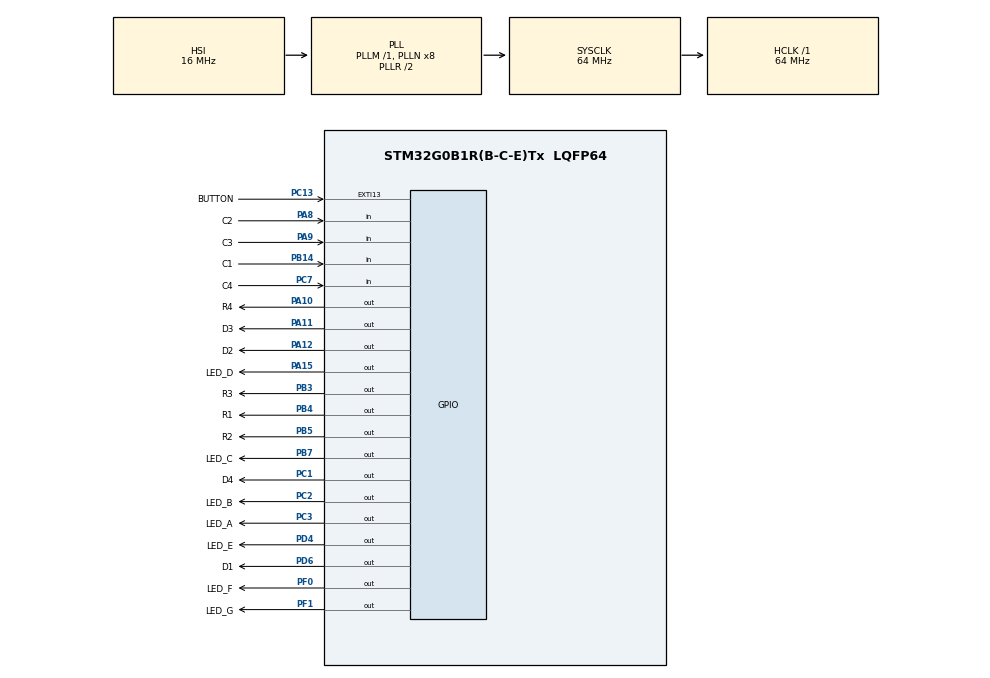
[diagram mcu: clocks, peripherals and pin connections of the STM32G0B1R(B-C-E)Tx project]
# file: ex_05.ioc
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Mcu.Family=STM32G0
Mcu.Name=STM32G0B1R(B-C-E)Tx
Mcu.Package=LQFP64
NVIC.EXTI4_15_IRQn=true\:0\:0\:false\:false\:true\:true\:true
PA10.GPIO_Label=R4
PA10.Signal=GPIO_Output
PA11\ [PA9].GPIO_Label=D3
PA11\ [PA9].Signal=GPIO_Output
PA12\ [PA10].GPIO_Label=D2
PA12\ [PA10].Signal=GPIO_Output
PA13.Mode=Serial_Wire
PA13.Signal=SYS_SWDIO
PA14-BOOT0.Mode=Serial_Wire
PA14-BOOT0.Signal=SYS_SWCLK
PA15.GPIO_Label=LED_D
PA15.Signal=GPIO_Output
PA8.GPIO_Label=C2
PA8.GPIO_PuPd=GPIO_PULLDOWN
PA8.Signal=GPIO_Input
PA9.GPIO_Label=C3
PA9.GPIO_PuPd=GPIO_PULLDOWN
PA9.Signal=GPIO_Input
PB14.GPIO_Label=C1
PB14.GPIO_PuPd=GPIO_PULLDOWN
PB14.Signal=GPIO_Input
PB3.GPIO_Label=R3
PB3.Signal=GPIO_Output
PB4.GPIO_Label=R1
PB4.Signal=GPIO_Output
PB5.GPIO_Label=R2
PB5.Signal=GPIO_Output
PB7.GPIO_Label=LED_C
PB7.Signal=GPIO_Output
PC1.GPIO_Label=D4
PC1.Signal=GPIO_Output
PC13.GPIO_Label=BUTTON
PC13.GPIO_ModeDefaultEXTI=GPIO_MODE_IT_RISING_FALLING
PC13.Signal=GPXTI13
PC2.GPIO_Label=LED_B
PC2.Signal=GPIO_Output
PC3.GPIO_Label=LED_A
PC3.Signal=GPIO_Output
PC7.GPIO_Label=C4
PC7.GPIO_PuPd=GPIO_PULLDOWN
PC7.Signal=GPIO_Input
PD4.GPIO_Label=LED_E
PD4.Signal=GPIO_Output
PD6.GPIO_Label=D1
PD6.Signal=GPIO_Output
PF0-OSC_IN\ (PF0).GPIO_Label=LED_F
PF0-OSC_IN\ (PF0).Signal=GPIO_Output
PF1-OSC_OUT\ (PF1).GPIO_Label=LED_G
PF1-OSC_OUT\ (PF1).Signal=GPIO_Output
ProjectManager.HeapSize=0x200
ProjectManager.StackSize=0x400
ProjectManager.TargetToolchain=STM32CubeIDE
RCC.ADCFreq_Value=64000000
RCC.AHBFreq_Value=64000000
RCC.CortexFreq_Value=64000000
RCC.EXTERNAL_CLOCK_VALUE=48000
RCC.HCLKFreq_Value=64000000
RCC.HSE_VALUE=8000000
RCC.HSI48_VALUE=48000000
RCC.HSI_VALUE=16000000
RCC.LSE_VALUE=32768
RCC.SYSCLKFreq_VALUE=64000000
RCC.SYSCLKSource=RCC_SYSCLKSOURCE_PLLCLK
RCC.USBFreq_Value=48000000
RCC.VCOOutputFreq_Value=128000000
VP_SYS_VS_DBSignals.Mode=DisableDeadBatterySignals
board=custom

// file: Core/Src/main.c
/* USER CODE BEGIN Header */
/**
  ******************************************************************************
  * @file           : main.c
  * @brief          : Main program body
  ******************************************************************************
  * @attention
  *
  * Copyright (c) 2022 STMicroelectronics.
  * All rights reserved.
  *
  * This software is licensed under terms that can be found in the LICENSE file
  * in the root directory of this software component.
  * If no LICENSE file comes with this software, it is provided AS-IS.
  *
  ******************************************************************************
  */
/* USER CODE END Header */
#include "main.h"

/* USER CODE BEGIN Includes */
#include <stdint.h>
/* USER CODE END Includes */

/* USER CODE BEGIN PV */
uint8_t unit=0,dec=0,cent=0,mil=0,press=0,count=0;
/* USER CODE END PV */

void SystemClock_Config(void);
static void MX_GPIO_Init(void);

/* USER CODE BEGIN 0 */
enum botaoPress_e {ALTO = 1, BAIXO = 0};

void displayNum(uint16_t numero, uint8_t display){
	switch(display){
	case 1:
		HAL_GPIO_WritePin(D1_GPIO_Port, D1_Pin, GPIO_PIN_SET);
		HAL_GPIO_WritePin(D2_GPIO_Port, D2_Pin, GPIO_PIN_RESET);
		HAL_GPIO_WritePin(D3_GPIO_Port, D3_Pin, GPIO_PIN_RESET);
		HAL_GPIO_WritePin(D4_GPIO_Port, D4_Pin, GPIO_PIN_RESET);
		break;
	case 2:
		HAL_GPIO_WritePin(D1_GPIO_Port, D1_Pin, GPIO_PIN_RESET);
		HAL_GPIO_WritePin(D2_GPIO_Port, D2_Pin, GPIO_PIN_SET);
		HAL_GPIO_WritePin(D3_GPIO_Port, D3_Pin, GPIO_PIN_RESET);
		HAL_GPIO_WritePin(D4_GPIO_Port, D4_Pin, GPIO_PIN_RESET);
		break;
	case 3:
		HAL_GPIO_WritePin(D1_GPIO_Port, D1_Pin, GPIO_PIN_RESET);
		HAL_GPIO_WritePin(D2_GPIO_Port, D2_Pin, GPIO_PIN_RESET);
		HAL_GPIO_WritePin(D3_GPIO_Port, D3_Pin, GPIO_PIN_SET);
		HAL_GPIO_WritePin(D4_GPIO_Port, D4_Pin, GPIO_PIN_RESET);
		break;
	case 4:
		HAL_GPIO_WritePin(D1_GPIO_Port, D1_Pin, GPIO_PIN_RESET);
		HAL_GPIO_WritePin(D2_GPIO_Port, D2_Pin, GPIO_PIN_RESET);
		HAL_GPIO_WritePin(D3_GPIO_Port, D3_Pin, GPIO_PIN_RESET);
		HAL_GPIO_WritePin(D4_GPIO_Port, D4_Pin, GPIO_PIN_SET);
		break;
	default:
		HAL_GPIO_WritePin(D1_GPIO_Port, D1_Pin, GPIO_PIN_RESET);
		HAL_GPIO_WritePin(D2_GPIO_Port, D2_Pin, GPIO_PIN_RESET);
		HAL_GPIO_WritePin(D3_GPIO_Port, D3_Pin, GPIO_PIN_RESET);
		HAL_GPIO_WritePin(D4_GPIO_Port, D4_Pin, GPIO_PIN_RESET);
		break;
	}

	HAL_GPIO_WritePin(LED_A_GPIO_Port, LED_A_Pin, GPIO_PIN_RESET);
	HAL_GPIO_WritePin(LED_B_GPIO_Port, LED_B_Pin, GPIO_PIN_RESET);
	HAL_GPIO_WritePin(LED_C_GPIO_Port, LED_C_Pin, GPIO_PIN_RESET);
	HAL_GPIO_WritePin(LED_D_GPIO_Port, LED_D_Pin, GPIO_PIN_RESET);
	HAL_GPIO_WritePin(LED_E_GPIO_Port, LED_E_Pin, GPIO_PIN_RESET);
	HAL_GPIO_WritePin(LED_F_GPIO_Port, LED_F_Pin, GPIO_PIN_RESET);
	HAL_GPIO_WritePin(LED_G_GPIO_Port, LED_G_Pin, GPIO_PIN_RESET);

	switch(numero){
	case 0:
		HAL_GPIO_WritePin(LED_A_GPIO_Port, LED_A_Pin, GPIO_PIN_SET);
		HAL_GPIO_WritePin(LED_B_GPIO_Port, LED_B_Pin, GPIO_PIN_SET);
		HAL_GPIO_WritePin(LED_C_GPIO_Port, LED_C_Pin, GPIO_PIN_SET);
		HAL_GPIO_WritePin(LED_D_GPIO_Port, LED_D_Pin, GPIO_PIN_SET);
		HAL_GPIO_WritePin(LED_E_GPIO_Port, LED_E_Pin, GPIO_PIN_SET);
		HAL_GPIO_WritePin(LED_F_GPIO_Port, LED_F_Pin, GPIO_PIN_SET);
		break;
	case 1:
		HAL_GPIO_WritePin(LED_B_GPIO_Port, LED_B_Pin, GPIO_PIN_SET);
		HAL_GPIO_WritePin(LED_C_GPIO_Port, LED_C_Pin, GPIO_PIN_SET);
		break;
	case 2:
		HAL_GPIO_WritePin(LED_A_GPIO_Port, LED_A_Pin, GPIO_PIN_SET);
		HAL_GPIO_WritePin(LED_B_GPIO_Port, LED_B_Pin, GPIO_PIN_SET);
		HAL_GPIO_WritePin(LED_D_GPIO_Port, LED_D_Pin, GPIO_PIN_SET);
		HAL_GPIO_WritePin(LED_E_GPIO_Port, LED_E_Pin, GPIO_PIN_SET);
		HAL_GPIO_WritePin(LED_G_GPIO_Port, LED_G_Pin, GPIO_PIN_SET);
		break;
	case 3:
		HAL_GPIO_WritePin(LED_A_GPIO_Port, LED_A_Pin, GPIO_PIN_SET);
		HAL_GPIO_WritePin(LED_B_GPIO_Port, LED_B_Pin, GPIO_PIN_SET);
		HAL_GPIO_WritePin(LED_C_GPIO_Port, LED_C_Pin, GPIO_PIN_SET);
		HAL_GPIO_WritePin(LED_D_GPIO_Port, LED_D_Pin, GPIO_PIN_SET);
		HAL_GPIO_WritePin(LED_G_GPIO_Port, LED_G_Pin, GPIO_PIN_SET);
		break;
	case 4:
		HAL_GPIO_WritePin(LED_B_GPIO_Port, LED_B_Pin, GPIO_PIN_SET);
		HAL_GPIO_WritePin(LED_C_GPIO_Port, LED_C_Pin, GPIO_PIN_SET);
		HAL_GPIO_WritePin(LED_F_GPIO_Port, LED_F_Pin, GPIO_PIN_SET);
		HAL_GPIO_WritePin(LED_G_GPIO_Port, LED_G_Pin, GPIO_PIN_SET);
		break;
	case 5:
		HAL_GPIO_WritePin(LED_A_GPIO_Port, LED_A_Pin, GPIO_PIN_SET);
		HAL_GPIO_WritePin(LED_C_GPIO_Port, LED_C_Pin, GPIO_PIN_SET);
		HAL_GPIO_WritePin(LED_D_GPIO_Port, LED_D_Pin, GPIO_PIN_SET);
		HAL_GPIO_WritePin(LED_F_GPIO_Port, LED_F_Pin, GPIO_PIN_SET);
		HAL_GPIO_WritePin(LED_G_GPIO_Port, LED_G_Pin, GPIO_PIN_SET);
		break;
	case 6:
		HAL_GPIO_WritePin(LED_A_GPIO_Port, LED_A_Pin, GPIO_PIN_SET);
		HAL_GPIO_WritePin(LED_C_GPIO_Port, LED_C_Pin, GPIO_PIN_SET);
		HAL_GPIO_WritePin(LED_D_GPIO_Port, LED_D_Pin, GPIO_PIN_SET);
		HAL_GPIO_WritePin(LED_E_GPIO_Port, LED_E_Pin, GPIO_PIN_SET);
		HAL_GPIO_WritePin(LED_F_GPIO_Port, LED_F_Pin, GPIO_PIN_SET);
		HAL_GPIO_WritePin(LED_G_GPIO_Port, LED_G_Pin, GPIO_PIN_SET);
		break;
	case 7:
		HAL_GPIO_WritePin(LED_A_GPIO_Port, LED_A_Pin, GPIO_PIN_SET);
		HAL_GPIO_WritePin(LED_B_GPIO_Port, LED_B_Pin, GPIO_PIN_SET);
		HAL_GPIO_WritePin(LED_C_GPIO_Port, LED_C_Pin, GPIO_PIN_SET);
		break;
	case 8:
		HAL_GPIO_WritePin(LED_A_GPIO_Port, LED_A_Pin, GPIO_PIN_SET);
		HAL_GPIO_WritePin(LED_B_GPIO_Port, LED_B_Pin, GPIO_PIN_SET);
		HAL_GPIO_WritePin(LED_C_GPIO_Port, LED_C_Pin, GPIO_PIN_SET);
		HAL_GPIO_WritePin(LED_D_GPIO_Port, LED_D_Pin, GPIO_PIN_SET);
		HAL_GPIO_WritePin(LED_E_GPIO_Port, LED_E_Pin, GPIO_PIN_SET);
		HAL_GPIO_WritePin(LED_F_GPIO_Port, LED_F_Pin, GPIO_PIN_SET);
		HAL_GPIO_WritePin(LED_G_GPIO_Port, LED_G_Pin, GPIO_PIN_SET);
		break;

	case 9:
		HAL_GPIO_WritePin(LED_A_GPIO_Port, LED_A_Pin, GPIO_PIN_SET);
		HAL_GPIO_WritePin(LED_B_GPIO_Port, LED_B_Pin, GPIO_PIN_SET);
		HAL_GPIO_WritePin(LED_C_GPIO_Port, LED_C_Pin, GPIO_PIN_SET);
		HAL_GPIO_WritePin(LED_G_GPIO_Port, LED_G_Pin, GPIO_PIN_SET);
		HAL_GPIO_WritePin(LED_F_GPIO_Port, LED_F_Pin, GPIO_PIN_SET);
		break;
	case 10:
		HAL_GPIO_WritePin(LED_A_GPIO_Port, LED_A_Pin, GPIO_PIN_SET);
		HAL_GPIO_WritePin(LED_B_GPIO_Port, LED_B_Pin, GPIO_PIN_SET);
		HAL_GPIO_WritePin(LED_C_GPIO_Port, LED_C_Pin, GPIO_PIN_SET);
		HAL_GPIO_WritePin(LED_E_GPIO_Port, LED_E_Pin, GPIO_PIN_SET);
		HAL_GPIO_WritePin(LED_F_GPIO_Port, LED_F_Pin, GPIO_PIN_SET);
		HAL_GPIO_WritePin(LED_G_GPIO_Port, LED_G_Pin, GPIO_PIN_SET);
		break;
	case 11:
		HAL_GPIO_WritePin(LED_C_GPIO_Port, LED_C_Pin, GPIO_PIN_SET);
		HAL_GPIO_WritePin(LED_D_GPIO_Port, LED_D_Pin, GPIO_PIN_SET);
		HAL_GPIO_WritePin(LED_E_GPIO_Port, LED_E_Pin, GPIO_PIN_SET);
		HAL_GPIO_WritePin(LED_F_GPIO_Port, LED_F_Pin, GPIO_PIN_SET);
		HAL_GPIO_WritePin(LED_G_GPIO_Port, LED_G_Pin, GPIO_PIN_SET);
		break;
	case 12:
		HAL_GPIO_WritePin(LED_A_GPIO_Port, LED_A_Pin, GPIO_PIN_SET);
		HAL_GPIO_WritePin(LED_D_GPIO_Port, LED_D_Pin, GPIO_PIN_SET);
		HAL_GPIO_WritePin(LED_E_GPIO_Port, LED_E_Pin, GPIO_PIN_SET);
		HAL_GPIO_WritePin(LED_F_GPIO_Port, LED_F_Pin, GPIO_PIN_SET);
		break;
	case 13:
		HAL_GPIO_WritePin(LED_B_GPIO_Port, LED_B_Pin, GPIO_PIN_SET);
		HAL_GPIO_WritePin(LED_C_GPIO_Port, LED_C_Pin, GPIO_PIN_SET);
		HAL_GPIO_WritePin(LED_D_GPIO_Port, LED_D_Pin, GPIO_PIN_SET);
		HAL_GPIO_WritePin(LED_E_GPIO_Port, LED_E_Pin, GPIO_PIN_SET);
		HAL_GPIO_WritePin(LED_G_GPIO_Port, LED_G_Pin, GPIO_PIN_SET);
		break;
	case 14:
		HAL_GPIO_WritePin(LED_A_GPIO_Port, LED_A_Pin, GPIO_PIN_SET);
		HAL_GPIO_WritePin(LED_D_GPIO_Port, LED_D_Pin, GPIO_PIN_SET);
		HAL_GPIO_WritePin(LED_E_GPIO_Port, LED_E_Pin, GPIO_PIN_SET);
		HAL_GPIO_WritePin(LED_F_GPIO_Port, LED_F_Pin, GPIO_PIN_SET);
		HAL_GPIO_WritePin(LED_G_GPIO_Port, LED_G_Pin, GPIO_PIN_SET);
		break;
	case 15:
		HAL_GPIO_WritePin(LED_A_GPIO_Port, LED_A_Pin, GPIO_PIN_SET);
		HAL_GPIO_WritePin(LED_E_GPIO_Port, LED_E_Pin, GPIO_PIN_SET);
		HAL_GPIO_WritePin(LED_F_GPIO_Port, LED_F_Pin, GPIO_PIN_SET);
		HAL_GPIO_WritePin(LED_G_GPIO_Port, LED_G_Pin, GPIO_PIN_SET);
		break;
	default:

		break;
	}
	HAL_Delay(1);
}

void separarNum(uint16_t num){
	unit = num % 10;
	num = num / 10;

	dec = num % 10;
	num = num / 10;

	cent = num % 10;
	num = num / 10;

	mil = num % 10;
	num = num / 10;
}
void HAL_GPIO_EXTI_Falling_Callback(uint16_t GPIO_Pin){
	count++;
	separarNum(count);
	press = ALTO;
}
void HAL_GPIO_EXTI_Rising_Callback(uint16_t GPIO_Pin){
	press = BAIXO;
}
/* USER CODE END 0 */

int main(void)
{

  /* MCU Configuration--------------------------------------------------------*/

  /* Reset of all peripherals, Initializes the Flash interface and the Systick. */
  HAL_Init();

  /* Configure the system clock */
  SystemClock_Config();

  /* Initialize all configured peripherals */
  MX_GPIO_Init();

  /* Infinite loop */
  /* USER CODE BEGIN WHILE */
  while (1)
  {
	  displayNum(unit,4);
	  displayNum(dec,3);
	  displayNum(cent,2);
	  displayNum(mil,1);
    /* USER CODE END WHILE */

  }
}

void SystemClock_Config(void)
{
  RCC_OscInitTypeDef RCC_OscInitStruct = {0};
  RCC_ClkInitTypeDef RCC_ClkInitStruct = {0};

  /** Configure the main internal regulator output voltage
  */
  HAL_PWREx_ControlVoltageScaling(PWR_REGULATOR_VOLTAGE_SCALE1);
  /** Initializes the RCC Oscillators according to the specified parameters
  * in the RCC_OscInitTypeDef structure.
  */
  RCC_OscInitStruct.OscillatorType = RCC_OSCILLATORTYPE_HSI;
  RCC_OscInitStruct.HSIState = RCC_HSI_ON;
  RCC_OscInitStruct.HSIDiv = RCC_HSI_DIV1;
  RCC_OscInitStruct.HSICalibrationValue = RCC_HSICALIBRATION_DEFAULT;
  RCC_OscInitStruct.PLL.PLLState = RCC_PLL_ON;
  RCC_OscInitStruct.PLL.PLLSource = RCC_PLLSOURCE_HSI;
  RCC_OscInitStruct.PLL.PLLM = RCC_PLLM_DIV1;
  RCC_OscInitStruct.PLL.PLLN = 8;
  RCC_OscInitStruct.PLL.PLLP = RCC_PLLP_DIV2;
  RCC_OscInitStruct.PLL.PLLQ = RCC_PLLQ_DIV2;
  RCC_OscInitStruct.PLL.PLLR = RCC_PLLR_DIV2;
  if (HAL_RCC_OscConfig(&RCC_OscInitStruct) != HAL_OK)
  {
    Error_Handler();
  }
  /** Initializes the CPU, AHB and APB buses clocks
  */
  RCC_ClkInitStruct.ClockType = RCC_CLOCKTYPE_HCLK|RCC_CLOCKTYPE_SYSCLK
                              |RCC_CLOCKTYPE_PCLK1;
  RCC_ClkInitStruct.SYSCLKSource = RCC_SYSCLKSOURCE_PLLCLK;
  RCC_ClkInitStruct.AHBCLKDivider = RCC_SYSCLK_DIV1;
  RCC_ClkInitStruct.APB1CLKDivider = RCC_HCLK_DIV1;

  if (HAL_RCC_ClockConfig(&RCC_ClkInitStruct, FLASH_LATENCY_2) != HAL_OK)
  {
    Error_Handler();
  }
}

static void MX_GPIO_Init(void)
{
  GPIO_InitTypeDef GPIO_InitStruct = {0};

  /* GPIO Ports Clock Enable */
  __HAL_RCC_GPIOC_CLK_ENABLE();
  __HAL_RCC_GPIOF_CLK_ENABLE();
  __HAL_RCC_GPIOB_CLK_ENABLE();
  __HAL_RCC_GPIOA_CLK_ENABLE();
  __HAL_RCC_GPIOD_CLK_ENABLE();

  /*Configure GPIO pin Output Level */
  HAL_GPIO_WritePin(GPIOF, LED_F_Pin|LED_G_Pin, GPIO_PIN_RESET);

  /*Configure GPIO pin Output Level */
  HAL_GPIO_WritePin(GPIOC, D4_Pin|LED_B_Pin|LED_A_Pin, GPIO_PIN_RESET);

  /*Configure GPIO pin Output Level */
  HAL_GPIO_WritePin(GPIOA, R4_Pin|D3_Pin|D2_Pin|LED_D_Pin, GPIO_PIN_RESET);

  /*Configure GPIO pin Output Level */
  HAL_GPIO_WritePin(GPIOD, LED_E_Pin|D1_Pin, GPIO_PIN_RESET);

  /*Configure GPIO pin Output Level */
  HAL_GPIO_WritePin(GPIOB, R3_Pin|R1_Pin|R2_Pin|LED_C_Pin, GPIO_PIN_RESET);

  /*Configure GPIO pin : BUTTON_Pin */
  GPIO_InitStruct.Pin = BUTTON_Pin;
  GPIO_InitStruct.Mode = GPIO_MODE_IT_RISING_FALLING;
  GPIO_InitStruct.Pull = GPIO_NOPULL;
  HAL_GPIO_Init(BUTTON_GPIO_Port, &GPIO_InitStruct);

  /*Configure GPIO pins : LED_F_Pin LED_G_Pin */
  GPIO_InitStruct.Pin = LED_F_Pin|LED_G_Pin;
  GPIO_InitStruct.Mode = GPIO_MODE_OUTPUT_PP;
  GPIO_InitStruct.Pull = GPIO_NOPULL;
  GPIO_InitStruct.Speed = GPIO_SPEED_FREQ_LOW;
  HAL_GPIO_Init(GPIOF, &GPIO_InitStruct);

  /*Configure GPIO pins : D4_Pin LED_B_Pin LED_A_Pin */
  GPIO_InitStruct.Pin = D4_Pin|LED_B_Pin|LED_A_Pin;
  GPIO_InitStruct.Mode = GPIO_MODE_OUTPUT_PP;
  GPIO_InitStruct.Pull = GPIO_NOPULL;
  GPIO_InitStruct.Speed = GPIO_SPEED_FREQ_LOW;
  HAL_GPIO_Init(GPIOC, &GPIO_InitStruct);

  /*Configure GPIO pin : C1_Pin */
  GPIO_InitStruct.Pin = C1_Pin;
  GPIO_InitStruct.Mode = GPIO_MODE_INPUT;
  GPIO_InitStruct.Pull = GPIO_PULLDOWN;
  HAL_GPIO_Init(C1_GPIO_Port, &GPIO_InitStruct);

  /*Configure GPIO pins : C2_Pin C3_Pin */
  GPIO_InitStruct.Pin = C2_Pin|C3_Pin;
  GPIO_InitStruct.Mode = GPIO_MODE_INPUT;
  GPIO_InitStruct.Pull = GPIO_PULLDOWN;
  HAL_GPIO_Init(GPIOA, &GPIO_InitStruct);

  /*Configure GPIO pin : C4_Pin */
  GPIO_InitStruct.Pin = C4_Pin;
  GPIO_InitStruct.Mode = GPIO_MODE_INPUT;
  GPIO_InitStruct.Pull = GPIO_PULLDOWN;
  HAL_GPIO_Init(C4_GPIO_Port, &GPIO_InitStruct);

  /*Configure GPIO pins : R4_Pin D3_Pin D2_Pin LED_D_Pin */
  GPIO_InitStruct.Pin = R4_Pin|D3_Pin|D2_Pin|LED_D_Pin;
  GPIO_InitStruct.Mode = GPIO_MODE_OUTPUT_PP;
  GPIO_InitStruct.Pull = GPIO_NOPULL;
  GPIO_InitStruct.Speed = GPIO_SPEED_FREQ_LOW;
  HAL_GPIO_Init(GPIOA, &GPIO_InitStruct);

  /*Configure GPIO pins : LED_E_Pin D1_Pin */
  GPIO_InitStruct.Pin = LED_E_Pin|D1_Pin;
  GPIO_InitStruct.Mode = GPIO_MODE_OUTPUT_PP;
  GPIO_InitStruct.Pull = GPIO_NOPULL;
  GPIO_InitStruct.Speed = GPIO_SPEED_FREQ_LOW;
  HAL_GPIO_Init(GPIOD, &GPIO_InitStruct);

  /*Configure GPIO pins : R3_Pin R1_Pin R2_Pin LED_C_Pin */
  GPIO_InitStruct.Pin = R3_Pin|R1_Pin|R2_Pin|LED_C_Pin;
  GPIO_InitStruct.Mode = GPIO_MODE_OUTPUT_PP;
  GPIO_InitStruct.Pull = GPIO_NOPULL;
  GPIO_InitStruct.Speed = GPIO_SPEED_FREQ_LOW;
  HAL_GPIO_Init(GPIOB, &GPIO_InitStruct);

  /* EXTI interrupt init*/
  HAL_NVIC_SetPriority(EXTI4_15_IRQn, 0, 0);
  HAL_NVIC_EnableIRQ(EXTI4_15_IRQn);

}

void Error_Handler(void)
{
  __disable_irq();
  while (1)
  {
  }
}
